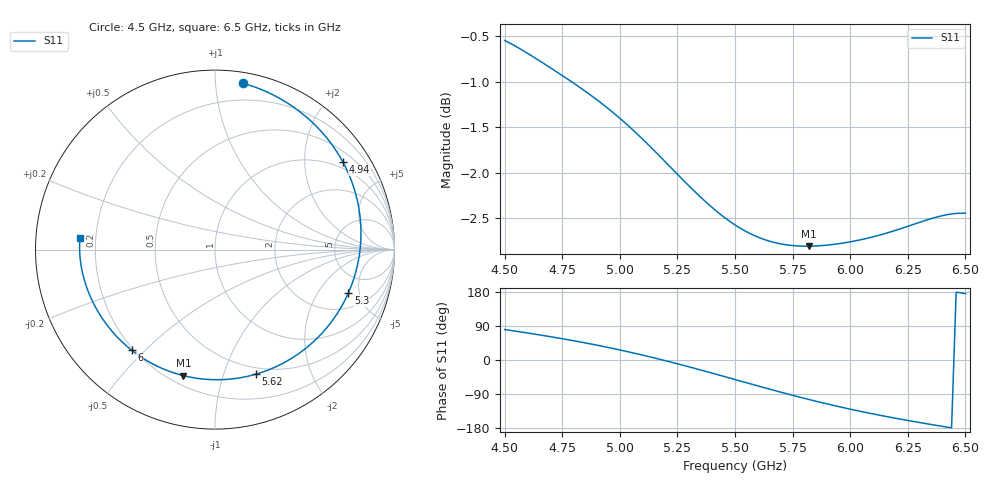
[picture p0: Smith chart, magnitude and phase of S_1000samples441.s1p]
! TOUCHSTONE file generated by CST MICROWAVE STUDIO
! Date and time: Fri Oct 28 04:40:38 2022
! Project name: L.cst
! Parameters = {Di=1.27; Epsilon_r=1.56; InnerDiameter=1.27; Length=2; Lf=10; Lg=60; OuterConductorThickness=0.2921; OuterDiameter=3.6; Wf=3; Wp=41.2; de=1.5; df=6.8; g=0.8; gx=4.01299; gy=1.52563; h=2.34; hf=1.524; px=11.5856; py=9.19757; w=9.7; wx=7.57262; wy=7.67194}
! Header version: 2018
! Port assignment regex: !\s*Touchstone port\s*([0-9]+)\s*=\s*(CST MWS port|CST DS port)\s*([0-9]+|Zmin|Zmax)\s*\(\"(.*)\"\)(\s*mode\s*([0-9]+))?.*
! Touchstone port assignment:
! Touchstone port 1 = CST MWS port 1 ("")
# GHz S DB R 50
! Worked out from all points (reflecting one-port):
!   101 points, 4.5 GHz to 6.5 GHz, reference 50 ohm
!   lowest |S11| = -2.8 dB at 5.82 GHz (marker M1), VSWR 6.25, Z = 12.7 - j37.4 ohm
!   phase of S11 starts at 80 deg and turns -265 deg over the sweep
!   S11 on the Smith chart (normalised r, x): 4.5 GHz: 0.08, +1.18; 4.94 GHz: 0.80, +3.05; 5.3 GHz: 3.13, -3.89; 5.62 GHz: 0.43, -1.29; 6 GHz: 0.19, -0.46; 6.5 GHz: 0.14, +0.04
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4.5  -0.55 80.4
4.56  -0.63 74.9
4.64  -0.75 67.3
4.76  -0.95 55.1
4.86  -1.12 44.0
4.94  -1.28 34.3
5  -1.40 26.5
5.08  -1.58 15.5
5.14  -1.73 6.9
5.2  -1.89 -2.2
5.26  -2.04 -11.6
5.3  -2.14 -18.0
5.34  -2.24 -24.6
5.4  -2.38 -34.5
5.5  -2.57 -51.5
5.56  -2.66 -61.7
5.62  -2.73 -71.8
5.68  -2.77 -81.8
5.76  -2.80 -94.7
5.82  -2.81 -104.0
5.9  -2.79 -115.9
6  -2.76 -129.7
6.06  -2.73 -137.4
6.12  -2.69 -144.8
6.18  -2.65 -151.8
6.26  -2.58 -160.6
6.38  -2.48 -173.1
6.5  -2.44 175.2
